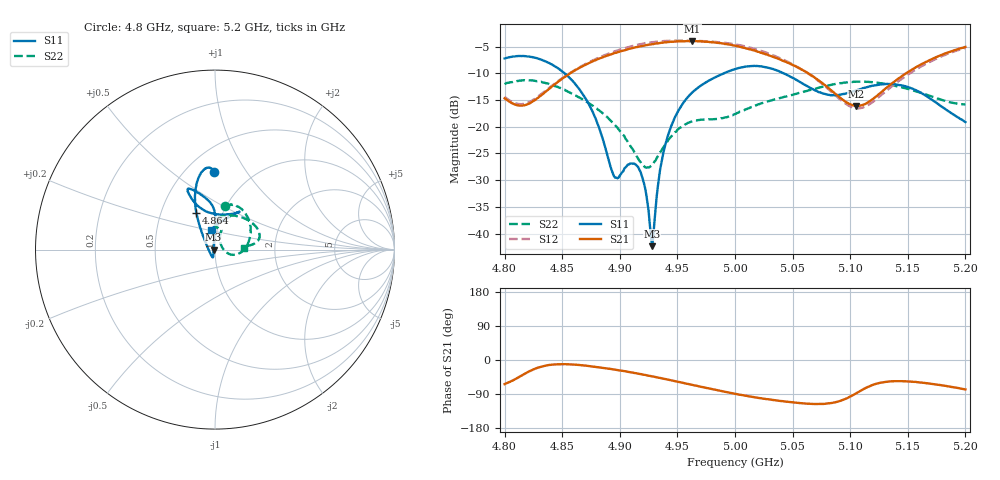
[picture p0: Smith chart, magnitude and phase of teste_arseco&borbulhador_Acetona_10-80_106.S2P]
! Network Analyzer HP8722D
! Hewlett-Packard
! Data name: Linha & Wilkinson
! Saver's name: Rodrigo Anjos
! Comments: Teste da utilização de aquisição
! continua pelo VNA HP8722D
! Time and date: 25/4/2025 16:09
!  Frequency  S11  S21  S12  S22
# HZ  S  MA R 50
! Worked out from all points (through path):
!   401 points, 4.8 GHz to 5.2 GHz, reference 50 ohm
!   highest |S21| = -3.98 dB at 4.963 GHz (marker M1); lowest = -16.1 dB at 5.105 GHz (marker M2)
!   lowest |S11| = -42.4 dB at 4.928 GHz (marker M3), VSWR 1.02, Z = 49.2 - j0.0595 ohm
!   |S11| at or under -10 dB: 4.852 GHz to 4.991 GHz (138.5 MHz wide, 2.81 % of centre); 5.042 GHz to end of sweep
!   |S22| runs from -27.6 to -11.3 dB; largest |S21 - S12| = 1.2
!   S11 on the Smith chart (normalised r, x): 4.8 GHz: 0.68, +0.73; 4.864 GHz: 0.75, +0.33; 5.2 GHz: 0.94, +0.21
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4.8e9  0.4348 90.5  0.1843 -63.5  0.1897 70.1  0.2502 77.2
4.82e9  0.4528 96.8  0.1622 -32.1  0.1678 98.8  0.2721 61.6
4.843e9  0.3709 106.3  0.2469 -11.8  0.2505 118.9  0.2422 36.5
4.864e9  0.2313 116.8  0.3509 -13.0  0.3545 120.9  0.189 11.8
4.867e9  0.2084 118.5  0.3645 -13.9  0.3695 120.6  0.1822 8.4
4.88e9  0.1112 128.9  0.4246 -18.5  0.4343 118.2  0.148 -5.4
4.896e9  0.03332 -165.4  0.4903 -25.5  0.5093 113.1  0.1034 -16.3
4.909e9  0.04525 -108.8  0.5367 -32.1  0.5622 107.3  0.06644 -14.4
4.917e9  0.03945 -104.5  0.5633 -36.6  0.5901 103.3  0.04798 -0.6
4.922e9  0.0265 -108.6  0.5767 -39.3  0.6045 100.5  0.04164 17.1
4.928e9  0.007622 -175.5  0.5924 -43.0  0.618 96.8  0.04379 42.0
4.93e9  0.01261 127.2  0.5967 -44.4  0.62 95.6  0.04711 49.0
4.934e9  0.03322 101.0  0.6049 -47.0  0.6283 93.0  0.05474 58.9
4.945e9  0.1036 90.4  0.6225 -53.9  0.6391 86.1  0.08172 70.0
4.963e9  0.2092 90.6  0.6326 -65.7  0.6366 74.6  0.1124 71.0
5e9  0.3458 109.1  0.5721 -89.2  0.5905 50.5  0.131 88.5
5.031e9  0.3514 115.1  0.4593 -104.7  0.4747 33.2  0.1757 84.4
5.067e9  0.2264 105.2  0.2995 -115.8  0.2971 23.6  0.2221 57.1
5.105e9  0.2187 65.3  0.1565 -88.3  0.1488 54.9  0.263 25.5
5.134e9  0.2507 57.2  0.2431 -56.6  0.2282 88.7  0.2475 12.2
5.168e9  0.188 69.4  0.4147 -61.8  0.3978 85.1  0.1958 6.9
5.2e9  0.1104 101.0  0.5574 -77.7  0.5453 69.8  0.161 3.7
